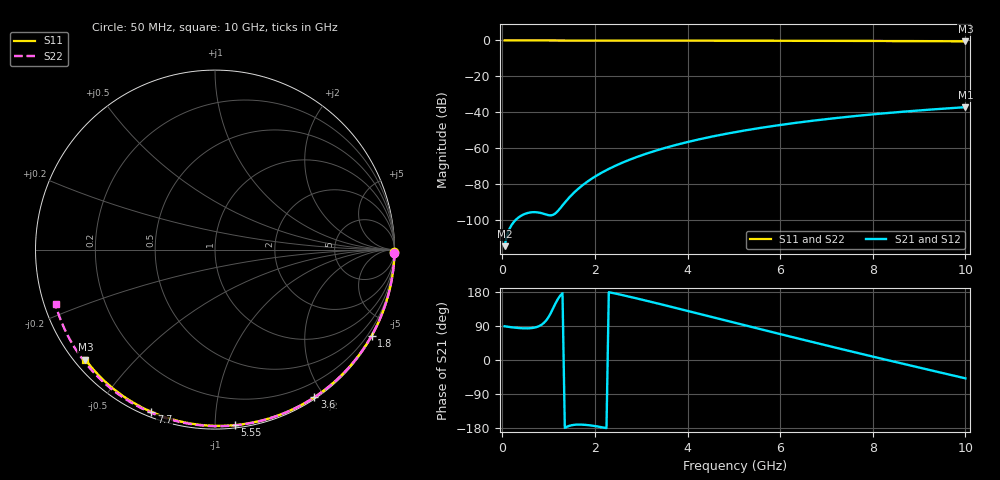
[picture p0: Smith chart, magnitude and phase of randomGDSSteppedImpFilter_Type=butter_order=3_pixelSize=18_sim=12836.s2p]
! freq	dB(S11)	phase(S11)	dB(S12)	phase(S12)
!  dB(S21)	phase(S21)	dB(S22)	phase(S22)
!S-par simulation data
#  GHz  S  DB  R 50
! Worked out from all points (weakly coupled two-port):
!   200 points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, 50 MHz to 10 GHz, reference 50 ohm
!   highest |S21| = -37.17 dB at 10 GHz (marker M1); lowest = -114.6 dB at 50 MHz (marker M2)
!   lowest |S11| = -0.5 dB at 10 GHz (marker M3), VSWR 36.76, Z = 1.54 - j18.4 ohm
!   |S11| at or under -10 dB: nowhere
!   |S22| runs from -0.5 to 0.0 dB; largest |S21 - S12| = 0
!   S11 on the Smith chart (normalised r, x): 50 MHz: open; 1.8 GHz: 0.03, -3.90; 3.6 GHz: 0.02, -1.88; 5.55 GHz: 0.02, -1.12; 7.7 GHz: 0.02, -0.68; 10 GHz: 0.03, -0.37
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0.05  -0.00 -0.8  -114.58 89.1  -114.58 89.1  -0.00 -0.9
0.45  -0.01 -7.3  -97.02 83.6  -97.02 83.6  -0.01 -8.4
0.85  -0.02 -13.7  -96.21 93.2  -96.21 93.2  -0.02 -15.8
1.3  -0.03 -20.9  -91.88 176.0  -91.88 176.0  -0.03 -24.0
1.75  -0.04 -27.9  -80.29 -170.7  -80.29 -170.7  -0.04 -32.1
1.8  -0.04 -28.7  -79.32 -171.2  -79.32 -171.2  -0.04 -33.0
1.95  -0.04 -31.1  -76.67 -173.4  -76.67 -173.4  -0.05 -35.7
2.1  -0.04 -33.4  -74.32 -176.3  -74.32 -176.3  -0.05 -38.3
2.3  -0.05 -36.5  -71.55 179.0  -71.55 179.0  -0.05 -41.9
2.5  -0.05 -39.6  -69.11 173.8  -69.11 173.8  -0.06 -45.4
2.9  -0.06 -45.7  -64.95 162.6  -64.95 162.6  -0.07 -52.3
3.4  -0.07 -53.1  -60.71 147.8  -60.71 147.8  -0.08 -60.9
3.6  -0.08 -56.1  -59.23 141.8  -59.23 141.8  -0.09 -64.2
4.3  -0.09 -66.2  -54.79 120.4  -54.79 120.4  -0.11 -75.7
5.05  -0.12 -76.8  -50.96 97.4  -50.96 97.4  -0.14 -87.7
5.55  -0.14 -83.6  -48.81 82.1  -48.81 82.1  -0.16 -95.4
6.1  -0.16 -90.9  -46.72 65.4  -46.72 65.4  -0.18 -103.8
6.7  -0.19 -98.8  -44.72 47.3  -44.72 47.3  -0.22 -112.7
7.7  -0.26 -111.5  -41.90 17.7  -41.90 17.7  -0.29 -127.4
8.35  -0.31 -119.6  -40.34 -1.2  -40.34 -1.2  -0.35 -136.8
9.2  -0.38 -129.9  -38.58 -25.6  -38.58 -25.6  -0.44 -149.2
10  -0.47 -139.7  -37.17 -48.4  -37.17 -48.4  -0.54 -161.0
